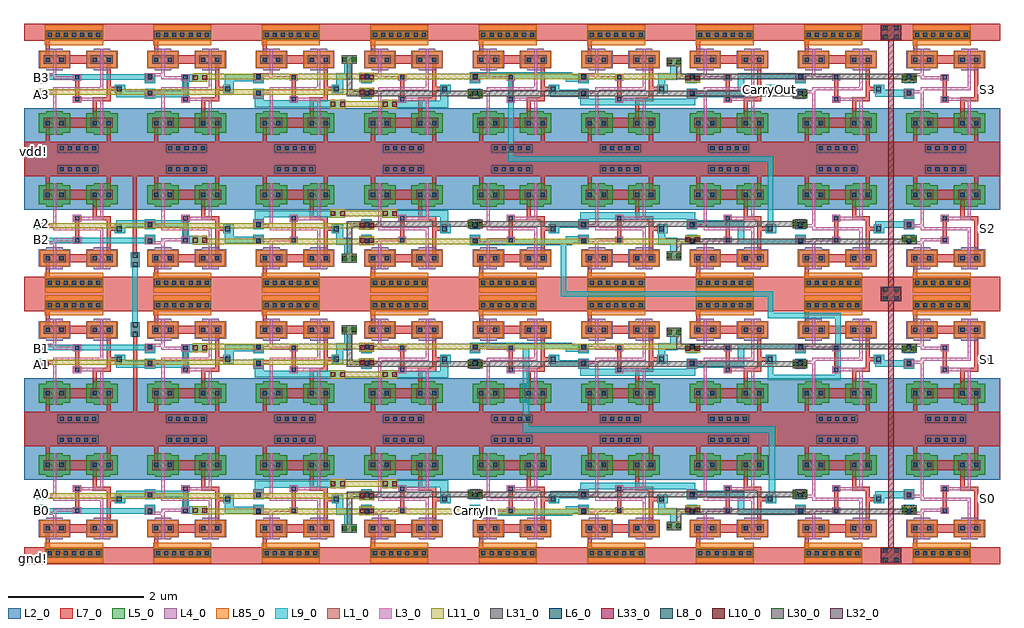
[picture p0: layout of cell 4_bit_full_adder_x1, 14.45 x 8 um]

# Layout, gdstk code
from math import pi, radians
import gdstk
lib = gdstk.Library(unit=1e-6, precision=5e-10)
def R(c, l, rs):  # rectangles x0, y0, x1, y1
    for r in rs: c.add(gdstk.rectangle(r[:2], r[2:], *l))
def A(c, l, x, y, w, h, nx, ny, dx, dy):  # array of equal rectangles
    R(c, l, [(x+i*dx, y+j*dy, x+i*dx+w, y+j*dy+h) for i in range(nx) for j in range(ny)])
L1_0 = (1, 0)
L2_0 = (2, 0)
L3_0 = (3, 0)
L4_0 = (4, 0)
L5_0 = (5, 0)
L6_0 = (6, 0)
L7_0 = (7, 0)
L8_0 = (8, 0)
L9_0 = (9, 0)
L10_0 = (10, 0)
L11_0 = (11, 0)
L30_0 = (30, 0)
L31_0 = (31, 0)
L32_0 = (32, 0)
L33_0 = (33, 0)
L85_0 = (85, 0)

nmos1v_cdns_764643294310 = lib.new_cell('nmos1v_CDNS_764643294310')
R(nmos1v_cdns_764643294310, L1_0, [(-0.14,0,0,0.12), (0,0,0.045,0.12), (0.045,0,0.185,0.12)])
R(nmos1v_cdns_764643294310, L3_0, [(0,-0.1,0.045,-0.05), (0,-0.05,0.045,0), (0,0,0.045,0.12), (0,0.12,0.045,0.17), (0,0.17,0.045,0.22)])
R(nmos1v_cdns_764643294310, L4_0, [(-0.1,-0.1,0.145,0.22), (-0.21,-0.07,0.255,0.19)])
R(nmos1v_cdns_764643294310, L6_0, [(-0.11,0.03,-0.05,0.09), (0.095,0.03,0.155,0.09)])
R(nmos1v_cdns_764643294310, L7_0, [(-0.11,0,-0.05,0.12), (0.095,0,0.155,0.12)])
R(nmos1v_cdns_764643294310, L85_0, [(-0.2,-0.06,0.245,0.18)])

pmos1v_cdns_764643294311 = lib.new_cell('pmos1v_CDNS_764643294311')
R(pmos1v_cdns_764643294311, L1_0, [(-0.14,0,0,0.145), (0,0,0.045,0.145), (0.045,0,0.185,0.145)])
R(pmos1v_cdns_764643294311, L2_0, [(-0.2,-0.06,0.245,0.205)])
R(pmos1v_cdns_764643294311, L3_0, [(0,-0.1,0.045,-0.05), (0,-0.05,0.045,0), (0,0,0.045,0.145), (0,0.145,0.045,0.195), (0,0.195,0.045,0.245)])
R(pmos1v_cdns_764643294311, L5_0, [(-0.1,-0.1,0.145,0.245), (-0.21,-0.07,0.255,0.215)])
R(pmos1v_cdns_764643294311, L6_0, [(-0.11,0.045,-0.05,0.105), (0.095,0.045,0.155,0.105)])
R(pmos1v_cdns_764643294311, L7_0, [(-0.11,0,-0.05,0.145), (0.095,0,0.155,0.145)])

m1_po_cdns_764643294317 = lib.new_cell('M1_PO_CDNS_764643294317')
R(m1_po_cdns_764643294317, L3_0, [(-0.05,-0.06,0.05,0.06)])
R(m1_po_cdns_764643294317, L6_0, [(-0.03,-0.03,0.03,0.03)])
R(m1_po_cdns_764643294317, L7_0, [(-0.03,-0.06,0.03,0.06)])

m2_m1_cdns_764643294318 = lib.new_cell('M2_M1_CDNS_764643294318')
R(m2_m1_cdns_764643294318, L7_0, [(-0.04,-0.065,0.04,0.065)])
R(m2_m1_cdns_764643294318, L8_0, [(-0.035,-0.035,0.035,0.035)])
R(m2_m1_cdns_764643294318, L9_0, [(-0.04,-0.065,0.04,0.065)])

m1_psub_cdns_76464329431 = lib.new_cell('M1_PSUB_CDNS_764643294319')
R(m1_psub_cdns_76464329431, L1_0, [(-0.06,-0.42,0.06,0.42)])
R(m1_psub_cdns_76464329431, L5_0, [(-0.07,-0.43,0.07,0.43)])
A(m1_psub_cdns_76464329431, L6_0, -0.03, -0.39, 0.06, 0.06, 1, 7, 0, 0.12)
R(m1_psub_cdns_76464329431, L7_0, [(-0.03,-0.42,0.03,0.42)])
R(m1_psub_cdns_76464329431, L85_0, [(-0.15,-0.43,0.15,0.43)])

m1_nwell_cdns_7646432943 = lib.new_cell('M1_NWELL_CDNS_7646432943110')
R(m1_nwell_cdns_7646432943, L1_0, [(-0.06,-0.3,0.06,0.3)])
R(m1_nwell_cdns_7646432943, L2_0, [(-0.15,-0.36,0.15,0.36)])
R(m1_nwell_cdns_7646432943, L4_0, [(-0.07,-0.31,0.07,0.31)])
A(m1_nwell_cdns_7646432943, L6_0, -0.03, -0.27, 0.06, 0.06, 1, 5, 0, 0.12)
R(m1_nwell_cdns_7646432943, L7_0, [(-0.03,-0.3,0.03,0.3)])

nand_x1 = lib.new_cell('nand_x1')
R(nand_x1, L2_0, [(0,1.25,1.605,2)])
R(nand_x1, L7_0, [(0,0,1.605,0.255), (0.1,0.03,0.2,0.13), (0.18,0.735,0.335,0.88), (0.18,0.96,0.335,1.11), (0,1.745,1.605,2), (0.1,1.835,0.2,1.935)])
R(nand_x1, L9_0, [(0.18,0.735,0.335,0.88), (0.215,0.755,0.315,0.855), (1.345,0.9,1.5,1.03), (1.365,0.93,1.465,1.03), (0.18,0.96,0.335,1.11), (0.205,0.99,0.305,1.09)])
nand_x1.add(gdstk.FlexPath([(1.05,1.12),(1.05,1.395)], 0.06, ends=(0.03, 0), simple_path=True, layer=7, datatype=0))  # L7_0
nand_x1.add(gdstk.FlexPath([(0.35,0.47),(0.35,0.255)], 0.06, ends="flush", simple_path=True, layer=7, datatype=0))  # L7_0
nand_x1.add(gdstk.FlexPath([(1.255,1.12),(1.05,1.12)], 0.06, ends="extended", simple_path=True, layer=7, datatype=0))  # L7_0
nand_x1.add(gdstk.FlexPath([(1.255,0.965),(1.41,0.965)], 0.06, ends=(0.03, 0), simple_path=True, layer=7, datatype=0))  # L7_0
nand_x1.add(gdstk.FlexPath([(1.255,0.965),(1.255,1.12)], 0.06, ends="extended", simple_path=True, layer=7, datatype=0))  # L7_0
nand_x1.add(gdstk.FlexPath([(1.255,0.59),(1.255,0.965)], 0.06, ends=(0, 0.03), simple_path=True, layer=7, datatype=0))  # L7_0
nand_x1.add(gdstk.FlexPath([(1.255,1.54),(1.255,1.745)], 0.06, ends="flush", simple_path=True, layer=7, datatype=0))  # L7_0
nand_x1.add(gdstk.FlexPath([(0.35,1.54),(0.35,1.745)], 0.06, ends="flush", simple_path=True, layer=7, datatype=0))  # L7_0
nand_x1.add(gdstk.FlexPath([(0.585,1.4675),(1.02,1.4675)], 0.145, ends="flush", simple_path=True, layer=7, datatype=0))  # L7_0
nand_x1.add(gdstk.FlexPath([(1.02,0.53),(0.585,0.53)], 0.12, ends="flush", simple_path=True, layer=7, datatype=0))  # L7_0
nand_x1.add(gdstk.FlexPath([(0.785,1.1175),(0.785,0.795)], 0.06, ends="flush", simple_path=True, layer=7, datatype=0))  # L7_0
nand_x1.add(gdstk.FlexPath([(0.4525,0.7575),(0.205,0.7575)], 0.045, ends=(0.0225, 0), simple_path=True, layer=3, datatype=0))  # L3_0
nand_x1.add(gdstk.FlexPath([(0.4525,0.7575),(0.4525,0.8025)], 0.045, ends="extended", simple_path=True, layer=3, datatype=0))  # L3_0
nand_x1.add(gdstk.FlexPath([(0.4525,1.0075),(0.205,1.0075)], 0.045, ends=(0.0225, 0), simple_path=True, layer=3, datatype=0))  # L3_0
nand_x1.add(gdstk.FlexPath([(0.4525,1.295),(0.4525,1.0075)], 0.045, ends=(0, 0.0225), simple_path=True, layer=3, datatype=0))  # L3_0
nand_x1.add(gdstk.FlexPath([(1.1525,1.1175),(0.785,1.1175)], 0.045, ends=(0.0225, 0), simple_path=True, layer=3, datatype=0))  # L3_0
nand_x1.add(gdstk.FlexPath([(1.1525,1.295),(1.1525,1.1175)], 0.045, ends=(0, 0.0225), simple_path=True, layer=3, datatype=0))  # L3_0
nand_x1.add(gdstk.FlexPath([(0.4525,0.8025),(0.82,0.8025)], 0.045, ends=(0.0225, 0), simple_path=True, layer=3, datatype=0))  # L3_0
nand_x1.add(gdstk.FlexPath([(0.4525,0.69),(0.4525,0.7575)], 0.045, ends=(0, 0.0225), simple_path=True, layer=3, datatype=0))  # L3_0
nand_x1.add(gdstk.FlexPath([(0.4525,0.9625),(0.4525,1.0075)], 0.045, ends="extended", simple_path=True, layer=3, datatype=0))  # L3_0
nand_x1.add(gdstk.FlexPath([(1.1525,0.9625),(0.4525,0.9625)], 0.045, ends="extended", simple_path=True, layer=3, datatype=0))  # L3_0
nand_x1.add(gdstk.FlexPath([(1.1525,0.665),(1.1525,0.9625)], 0.045, ends=(0, 0.0225), simple_path=True, layer=3, datatype=0))  # L3_0
nand_x1.add(gdstk.Reference(nmos1v_cdns_764643294310, (0.43,0.47)))
nand_x1.add(gdstk.Reference(nmos1v_cdns_764643294310, (1.13,0.47)))
nand_x1.add(gdstk.Reference(pmos1v_cdns_764643294311, (1.13,1.395)))
nand_x1.add(gdstk.Reference(pmos1v_cdns_764643294311, (0.43,1.395)))
nand_x1.add(gdstk.Reference(m1_po_cdns_764643294317, (0.785,1.12), rotation=pi/2))
nand_x1.add(gdstk.Reference(m1_po_cdns_764643294317, (0.785,0.795), rotation=pi/2))
nand_x1.add(gdstk.Reference(m1_po_cdns_764643294317, (0.255,1.025), rotation=pi/2))
nand_x1.add(gdstk.Reference(m1_po_cdns_764643294317, (0.255,0.785), rotation=pi/2))
nand_x1.add(gdstk.Reference(m2_m1_cdns_764643294318, (1.41,0.965)))
nand_x1.add(gdstk.Reference(m2_m1_cdns_764643294318, (0.26,0.785), rotation=pi/2))
nand_x1.add(gdstk.Reference(m2_m1_cdns_764643294318, (0.26,1.025), rotation=pi/2))
nand_x1.add(gdstk.Reference(m1_psub_cdns_76464329431, (0.74,0.165), rotation=pi/2))
nand_x1.add(gdstk.Reference(m1_nwell_cdns_7646432943, (0.8,1.845), rotation=pi/2))
nand_x1.add(gdstk.Label('vdd!', (0.15,1.885), layer=7, texttype=0))
nand_x1.add(gdstk.Label('gnd!', (0.15,0.08), layer=7, texttype=0))
nand_x1.add(gdstk.Label('S', (1.415,0.98), layer=9, texttype=0))
nand_x1.add(gdstk.Label('B', (0.265,0.805), layer=9, texttype=0))
nand_x1.add(gdstk.Label('A', (0.255,1.04), layer=9, texttype=0))

m3_m2_cdns_764643294315 = lib.new_cell('M3_M2_CDNS_764643294315')
R(m3_m2_cdns_764643294315, L9_0, [(-0.11,-0.065,0.11,0.065)])
R(m3_m2_cdns_764643294315, L10_0, [(-0.105,-0.035,-0.035,0.035), (0.035,-0.035,0.105,0.035)])
R(m3_m2_cdns_764643294315, L11_0, [(-0.11,-0.065,0.11,0.065)])

m4_m3_cdns_764643294316 = lib.new_cell('M4_M3_CDNS_764643294316')
R(m4_m3_cdns_764643294316, L11_0, [(-0.11,-0.065,0.11,0.065)])
R(m4_m3_cdns_764643294316, L30_0, [(-0.105,-0.035,-0.035,0.035), (0.035,-0.035,0.105,0.035)])
R(m4_m3_cdns_764643294316, L31_0, [(-0.11,-0.065,0.11,0.065)])

c_1_bit_full_adder_x1 = lib.new_cell('1_bit_full_adder_x1')
R(c_1_bit_full_adder_x1, L2_0, [(0,1.25,14.445,2)])
R(c_1_bit_full_adder_x1, L7_0, [(0,0,14.445,0.255), (0.11,0.05,0.17,0.11), (0,1.745,14.445,2), (0.115,1.865,0.175,1.925)])
R(c_1_bit_full_adder_x1, L9_0, [(10.56,0.735,10.66,0.815), (11.415,0.735,11.57,0.88), (0.225,0.77,0.285,0.83), (6.655,0.77,6.715,0.83), (2.44,0.845,2.495,0.86), (3.07,0.85,3.105,0.9), (7.765,0.9,7.92,1.03), (14.235,0.94,14.295,1), (11.01,0.955,11.07,1.015), (8.205,0.96,8.36,1.11), (0.225,1.02,0.285,1.08), (6.16,1.03,6.18,1.14), (3.515,1.11,3.545,1.14)])
c_1_bit_full_adder_x1.add(gdstk.FlexPath([(5.415,1.19),(6.23,1.19)], 0.1, ends=(0, 0.05), simple_path=True, layer=9, datatype=0))  # L9_0
c_1_bit_full_adder_x1.add(gdstk.FlexPath([(4.645,1.19),(4.645,1.185)], 0.1, ends=(0, 0.05), simple_path=True, layer=9, datatype=0))  # L9_0
c_1_bit_full_adder_x1.add(gdstk.FlexPath([(10.61,0.775),(10.61,0.805)], 0.08, ends=(0.04, 0), simple_path=True, layer=9, datatype=0))  # L9_0
c_1_bit_full_adder_x1.add(gdstk.FlexPath([(8.065,0.77),(6.6,0.77)], 0.1, ends=(0.05, 0), simple_path=True, layer=9, datatype=0))  # L9_0
c_1_bit_full_adder_x1.add(gdstk.FlexPath([(9.615,0.78),(9.615,0.525)], 0.1, ends=(0.05, 0), simple_path=True, layer=9, datatype=0))  # L9_0
c_1_bit_full_adder_x1.add(gdstk.FlexPath([(9.44,0.78),(9.615,0.78)], 0.1, ends="extended", simple_path=True, layer=9, datatype=0))  # L9_0
c_1_bit_full_adder_x1.add(gdstk.FlexPath([(9.44,0.93),(9.44,0.78)], 0.1, ends=(0, 0.05), simple_path=True, layer=9, datatype=0))  # L9_0
c_1_bit_full_adder_x1.add(gdstk.FlexPath([(4.815,0.53),(4.79,0.53)], 0.1, ends=(0, 0.05), simple_path=True, layer=9, datatype=0))  # L9_0
c_1_bit_full_adder_x1.add(gdstk.FlexPath([(4.79,0.53),(4.79,0.78)], 0.1, ends="extended", simple_path=True, layer=9, datatype=0))  # L9_0
c_1_bit_full_adder_x1.add(gdstk.FlexPath([(4.79,0.78),(4.675,0.78)], 0.1, ends="extended", simple_path=True, layer=9, datatype=0))  # L9_0
c_1_bit_full_adder_x1.add(gdstk.FlexPath([(4.675,0.78),(4.675,0.98)], 0.1, ends="extended", simple_path=True, layer=9, datatype=0))  # L9_0
c_1_bit_full_adder_x1.add(gdstk.FlexPath([(3.465,1.185),(3.465,1.09)], 0.1, ends=(0.05, 0), simple_path=True, layer=9, datatype=0))  # L9_0
c_1_bit_full_adder_x1.add(gdstk.FlexPath([(6.23,1.19),(6.23,1.03)], 0.1, ends=(0.05, 0), simple_path=True, layer=9, datatype=0))  # L9_0
c_1_bit_full_adder_x1.add(gdstk.FlexPath([(4.645,1.185),(3.465,1.185)], 0.1, ends="extended", simple_path=True, layer=9, datatype=0))  # L9_0
c_1_bit_full_adder_x1.add(gdstk.FlexPath([(8.24,0.805),(8.065,0.805)], 0.1, ends=(0, 0.05), simple_path=True, layer=9, datatype=0))  # L9_0
c_1_bit_full_adder_x1.add(gdstk.FlexPath([(8.065,0.805),(8.065,0.77)], 0.1, ends="extended", simple_path=True, layer=9, datatype=0))  # L9_0
c_1_bit_full_adder_x1.add(gdstk.FlexPath([(9.885,1.16),(9.885,0.99)], 0.1, ends=(0.05, 0), simple_path=True, layer=9, datatype=0))  # L9_0
c_1_bit_full_adder_x1.add(gdstk.FlexPath([(8.28,1.16),(9.885,1.16)], 0.1, ends="extended", simple_path=True, layer=9, datatype=0))  # L9_0
c_1_bit_full_adder_x1.add(gdstk.FlexPath([(8.28,1.09),(8.28,1.16)], 0.1, ends=(0, 0.05), simple_path=True, layer=9, datatype=0))  # L9_0
c_1_bit_full_adder_x1.add(gdstk.FlexPath([(10.61,0.805),(10.61,0.79)], 0.1, ends=(0.05, 0), simple_path=True, layer=9, datatype=0))  # L9_0
c_1_bit_full_adder_x1.add(gdstk.FlexPath([(11.42,0.775),(10.61,0.775)], 0.08, ends=(0, 0.04), simple_path=True, layer=9, datatype=0))  # L9_0
c_1_bit_full_adder_x1.add(gdstk.FlexPath([(10.61,0.805),(10.61,1.04)], 0.1, ends="extended", simple_path=True, layer=9, datatype=0))  # L9_0
c_1_bit_full_adder_x1.add(gdstk.FlexPath([(10.61,1.04),(9.935,1.04)], 0.1, ends=(0.05, 0), simple_path=True, layer=9, datatype=0))  # L9_0
c_1_bit_full_adder_x1.add(gdstk.FlexPath([(12.65,1.03),(13.145,1.03)], 0.1, ends=(0.05, 0), simple_path=True, layer=9, datatype=0))  # L9_0
c_1_bit_full_adder_x1.add(gdstk.FlexPath([(8.28,1.03),(8.28,0.99)], 0.1, ends=(0.05, 0), simple_path=True, layer=9, datatype=0))  # L9_0
c_1_bit_full_adder_x1.add(gdstk.FlexPath([(7.835,1.03),(8.28,1.03)], 0.1, ends="extended", simple_path=True, layer=9, datatype=0))  # L9_0
c_1_bit_full_adder_x1.add(gdstk.FlexPath([(3.02,0.8),(3.525,0.8)], 0.1, ends=(0.05, 0), simple_path=True, layer=9, datatype=0))  # L9_0
c_1_bit_full_adder_x1.add(gdstk.FlexPath([(3.02,0.93),(3.02,0.8)], 0.1, ends=(0, 0.05), simple_path=True, layer=9, datatype=0))  # L9_0
c_1_bit_full_adder_x1.add(gdstk.FlexPath([(2.39,0.795),(2.59,0.795)], 0.1, ends=(0.05, 0), simple_path=True, layer=9, datatype=0))  # L9_0
c_1_bit_full_adder_x1.add(gdstk.FlexPath([(2.39,1.04),(2.39,0.795)], 0.1, ends="extended", simple_path=True, layer=9, datatype=0))  # L9_0
c_1_bit_full_adder_x1.add(gdstk.FlexPath([(1.91,1.04),(2.39,1.04)], 0.1, ends=(0, 0.05), simple_path=True, layer=9, datatype=0))  # L9_0
c_1_bit_full_adder_x1.add(gdstk.FlexPath([(1.415,1.04),(1.415,0.93)], 0.1, ends=(0.05, 0), simple_path=True, layer=9, datatype=0))  # L9_0
c_1_bit_full_adder_x1.add(gdstk.FlexPath([(1.81,1.04),(1.415,1.04)], 0.1, ends=(0, 0.05), simple_path=True, layer=9, datatype=0))  # L9_0
c_1_bit_full_adder_x1.add(gdstk.FlexPath([(0.285,0.79),(1.88,0.79)], 0.08, ends="flush", simple_path=True, layer=9, datatype=0))  # L9_0
c_1_bit_full_adder_x1.add(gdstk.FlexPath([(5.415,1.19),(4.645,1.19)], 0.08, ends="flush", simple_path=True, layer=11, datatype=0))  # L11_0
c_1_bit_full_adder_x1.add(gdstk.FlexPath([(5.075,1.01),(5.075,1.035)], 0.08, ends=(0.04, 0), simple_path=True, layer=11, datatype=0))  # L11_0
c_1_bit_full_adder_x1.add(gdstk.FlexPath([(0.26,1.01),(5.075,1.01)], 0.08, ends=(0.11, 0.04), simple_path=True, layer=11, datatype=0))  # L11_0
c_1_bit_full_adder_x1.add(gdstk.FlexPath([(0.26,1.035),(0.26,1.01)], 0.22, ends=(0, 0.04), simple_path=True, layer=11, datatype=0))  # L11_0
c_1_bit_full_adder_x1.add(gdstk.FlexPath([(2.605,0.78),(2.605,0.795)], 0.08, ends=(0.04, 0), simple_path=True, layer=11, datatype=0))  # L11_0
c_1_bit_full_adder_x1.add(gdstk.FlexPath([(9.895,0.78),(2.605,0.78)], 0.08, ends=(0.11, 0.04), simple_path=True, layer=11, datatype=0))  # L11_0
c_1_bit_full_adder_x1.add(gdstk.FlexPath([(9.895,0.805),(9.895,0.78)], 0.22, ends=(0, 0.04), simple_path=True, layer=11, datatype=0))  # L11_0
c_1_bit_full_adder_x1.add(gdstk.FlexPath([(13.1,0.78),(13.1,0.805)], 0.08, ends=(0.04, 0), simple_path=True, layer=31, datatype=0))  # L31_0
c_1_bit_full_adder_x1.add(gdstk.FlexPath([(9.69,0.78),(13.1,0.78)], 0.08, ends="extended", simple_path=True, layer=31, datatype=0))  # L31_0
c_1_bit_full_adder_x1.add(gdstk.FlexPath([(9.69,0.565),(9.69,0.78)], 0.08, ends=(0.065, 0.04), simple_path=True, layer=31, datatype=0))  # L31_0
c_1_bit_full_adder_x1.add(gdstk.FlexPath([(9.62,0.565),(9.69,0.565)], 0.13, ends=(0, 0.04), simple_path=True, layer=31, datatype=0))  # L31_0
c_1_bit_full_adder_x1.add(gdstk.FlexPath([(6.68,1.035),(11.485,1.035)], 0.08, ends="flush", simple_path=True, layer=31, datatype=0))  # L31_0
c_1_bit_full_adder_x1.add(gdstk.FlexPath([(4.815,1.035),(4.815,0.53)], 0.08, ends=(0.04, 0), simple_path=True, layer=31, datatype=0))  # L31_0
c_1_bit_full_adder_x1.add(gdstk.FlexPath([(6.68,1.035),(4.815,1.035)], 0.08, ends=(0, 0.04), simple_path=True, layer=31, datatype=0))  # L31_0
c_1_bit_full_adder_x1.add(gdstk.Reference(nand_x1, (9.63,0)))
c_1_bit_full_adder_x1.add(gdstk.Reference(nand_x1, (12.84,0)))
c_1_bit_full_adder_x1.add(gdstk.Reference(nand_x1, (8.025,0)))
c_1_bit_full_adder_x1.add(gdstk.Reference(nand_x1, (11.235,0)))
c_1_bit_full_adder_x1.add(gdstk.Reference(nand_x1, (6.42,0)))
c_1_bit_full_adder_x1.add(gdstk.Reference(nand_x1, (3.21,0)))
c_1_bit_full_adder_x1.add(gdstk.Reference(nand_x1, (1.605,0)))
c_1_bit_full_adder_x1.add(gdstk.Reference(nand_x1, (4.815,0)))
c_1_bit_full_adder_x1.add(gdstk.Reference(nand_x1, (0,0)))
c_1_bit_full_adder_x1.add(gdstk.Reference(m3_m2_cdns_764643294315, (5.415,1.19)))
c_1_bit_full_adder_x1.add(gdstk.Reference(m3_m2_cdns_764643294315, (4.645,1.19)))
c_1_bit_full_adder_x1.add(gdstk.Reference(m3_m2_cdns_764643294315, (13.1,0.805)))
c_1_bit_full_adder_x1.add(gdstk.Reference(m3_m2_cdns_764643294315, (9.62,0.565)))
c_1_bit_full_adder_x1.add(gdstk.Reference(m3_m2_cdns_764643294315, (11.485,1.035)))
c_1_bit_full_adder_x1.add(gdstk.Reference(m3_m2_cdns_764643294315, (6.68,1.035)))
c_1_bit_full_adder_x1.add(gdstk.Reference(m3_m2_cdns_764643294315, (4.815,0.53)))
c_1_bit_full_adder_x1.add(gdstk.Reference(m3_m2_cdns_764643294315, (5.075,0.79)))
c_1_bit_full_adder_x1.add(gdstk.Reference(m3_m2_cdns_764643294315, (9.895,0.805)))
c_1_bit_full_adder_x1.add(gdstk.Reference(m3_m2_cdns_764643294315, (2.605,0.795)))
c_1_bit_full_adder_x1.add(gdstk.Reference(m3_m2_cdns_764643294315, (5.075,1.015)))
c_1_bit_full_adder_x1.add(gdstk.Reference(m3_m2_cdns_764643294315, (0.26,1.035)))
c_1_bit_full_adder_x1.add(gdstk.Reference(m4_m3_cdns_764643294316, (9.62,0.565)))
c_1_bit_full_adder_x1.add(gdstk.Reference(m4_m3_cdns_764643294316, (13.1,0.805)))
c_1_bit_full_adder_x1.add(gdstk.Reference(m4_m3_cdns_764643294316, (11.485,1.035)))
c_1_bit_full_adder_x1.add(gdstk.Reference(m4_m3_cdns_764643294316, (4.815,0.53)))
c_1_bit_full_adder_x1.add(gdstk.Reference(m4_m3_cdns_764643294316, (6.68,1.035)))
c_1_bit_full_adder_x1.add(gdstk.Label('vdd!', (0.145,1.895), layer=7, texttype=0))
c_1_bit_full_adder_x1.add(gdstk.Label('gnd!', (0.14,0.08), layer=7, texttype=0))
c_1_bit_full_adder_x1.add(gdstk.Label('CarryIn', (6.685,0.8), layer=9, texttype=0))
c_1_bit_full_adder_x1.add(gdstk.Label('B', (0.255,0.8), layer=9, texttype=0))
c_1_bit_full_adder_x1.add(gdstk.Label('A', (0.255,1.05), layer=9, texttype=0))
c_1_bit_full_adder_x1.add(gdstk.Label('CarryOut', (11.04,0.985), layer=9, texttype=0))
c_1_bit_full_adder_x1.add(gdstk.Label('S', (14.265,0.97), layer=9, texttype=0))

m2_m1_cdns_764643294310 = lib.new_cell('M2_M1_CDNS_764643294310')
R(m2_m1_cdns_764643294310, L7_0, [(-0.11,-0.065,0.11,0.065)])
R(m2_m1_cdns_764643294310, L8_0, [(-0.105,-0.035,-0.035,0.035), (0.035,-0.035,0.105,0.035)])
R(m2_m1_cdns_764643294310, L9_0, [(-0.11,-0.065,0.11,0.065)])

m2_m1_cdns_764643294311 = lib.new_cell('M2_M1_CDNS_764643294311')
R(m2_m1_cdns_764643294311, L7_0, [(-0.11,-0.15,0.11,0.15)])
R(m2_m1_cdns_764643294311, L8_0, [(-0.105,-0.12,-0.035,-0.05), (0.035,-0.12,0.105,-0.05), (-0.105,0.05,-0.035,0.12), (0.035,0.05,0.105,0.12)])
R(m2_m1_cdns_764643294311, L9_0, [(-0.11,-0.15,0.11,0.15)])

m3_m2_cdns_764643294312 = lib.new_cell('M3_M2_CDNS_764643294312')
R(m3_m2_cdns_764643294312, L9_0, [(-0.11,-0.15,0.11,0.15)])
R(m3_m2_cdns_764643294312, L10_0, [(-0.105,-0.12,-0.035,-0.05), (0.035,-0.12,0.105,-0.05), (-0.105,0.05,-0.035,0.12), (0.035,0.05,0.105,0.12)])
R(m3_m2_cdns_764643294312, L11_0, [(-0.11,-0.15,0.11,0.15)])

m4_m3_cdns_764643294313 = lib.new_cell('M4_M3_CDNS_764643294313')
R(m4_m3_cdns_764643294313, L11_0, [(-0.11,-0.15,0.11,0.15)])
R(m4_m3_cdns_764643294313, L30_0, [(-0.105,-0.12,-0.035,-0.05), (0.035,-0.12,0.105,-0.05), (-0.105,0.05,-0.035,0.12), (0.035,0.05,0.105,0.12)])
R(m4_m3_cdns_764643294313, L31_0, [(-0.11,-0.15,0.11,0.15)])

m5_m4_cdns_764643294314 = lib.new_cell('M5_M4_CDNS_764643294314')
R(m5_m4_cdns_764643294314, L31_0, [(-0.11,-0.15,0.11,0.15)])
R(m5_m4_cdns_764643294314, L32_0, [(-0.105,-0.12,-0.035,-0.05), (0.035,-0.12,0.105,-0.05), (-0.105,0.05,-0.035,0.12), (0.035,0.05,0.105,0.12)])
R(m5_m4_cdns_764643294314, L33_0, [(-0.11,-0.15,0.11,0.15)])

c_4_bit_full_adder_x1 = lib.new_cell('4_bit_full_adder_x1')
R(c_4_bit_full_adder_x1, L7_0, [(0.11,0.05,0.17,0.11), (0.225,0.77,0.285,0.83), (14.235,0.94,14.295,1), (0.225,1.02,0.285,1.08), (0.225,2.92,0.285,2.98), (14.235,3,14.295,3.06), (0.225,3.17,0.285,3.23), (0.225,4.77,0.285,4.83), (14.235,4.94,14.295,5), (0.225,5.02,0.285,5.08), (0.115,6.075,0.175,6.135), (0.225,6.92,0.285,6.98), (14.235,7,14.295,7.06), (0.225,7.17,0.285,7.23)])
R(c_4_bit_full_adder_x1, L9_0, [(6.64,0.76,6.72,0.84), (11,6.985,11.08,7.065)])
c_4_bit_full_adder_x1.add(gdstk.FlexPath([(1.64,5.775),(1.64,4.525)], 0.06, ends="flush", simple_path=True, layer=7, datatype=0))  # L7_0
c_4_bit_full_adder_x1.add(gdstk.FlexPath([(1.645,3.475),(1.645,2.25)], 0.06, ends="flush", simple_path=True, layer=7, datatype=0))  # L7_0
c_4_bit_full_adder_x1.add(gdstk.FlexPath([(11.05,2.765),(12.045,2.765)], 0.08, ends="extended", simple_path=True, layer=9, datatype=0))  # L9_0
c_4_bit_full_adder_x1.add(gdstk.FlexPath([(11.05,2.985),(11.05,2.765)], 0.08, ends=(0, 0.04), simple_path=True, layer=9, datatype=0))  # L9_0
c_4_bit_full_adder_x1.add(gdstk.FlexPath([(12.045,2.765),(12.045,3.68)], 0.08, ends="extended", simple_path=True, layer=9, datatype=0))  # L9_0
c_4_bit_full_adder_x1.add(gdstk.FlexPath([(12.045,3.68),(11.05,3.68)], 0.08, ends="extended", simple_path=True, layer=9, datatype=0))  # L9_0
c_4_bit_full_adder_x1.add(gdstk.FlexPath([(7.21,7.23),(6.655,7.23)], 0.08, ends=(0.04, 0), simple_path=True, layer=9, datatype=0))  # L9_0
c_4_bit_full_adder_x1.add(gdstk.FlexPath([(7.21,6),(7.21,7.23)], 0.08, ends="extended", simple_path=True, layer=9, datatype=0))  # L9_0
c_4_bit_full_adder_x1.add(gdstk.FlexPath([(11.05,6),(7.21,6)], 0.08, ends="extended", simple_path=True, layer=9, datatype=0))  # L9_0
c_4_bit_full_adder_x1.add(gdstk.FlexPath([(11.05,5.015),(11.05,6)], 0.08, ends=(0, 0.04), simple_path=True, layer=9, datatype=0))  # L9_0
c_4_bit_full_adder_x1.add(gdstk.FlexPath([(6.715,3.23),(7.43,3.23)], 0.1, ends=(0, 0.05), simple_path=True, layer=9, datatype=0))  # L9_0
c_4_bit_full_adder_x1.add(gdstk.FlexPath([(7.985,4.77),(6.655,4.77)], 0.08, ends=(0.04, 0), simple_path=True, layer=9, datatype=0))  # L9_0
c_4_bit_full_adder_x1.add(gdstk.FlexPath([(7.985,4),(7.985,4.77)], 0.08, ends="extended", simple_path=True, layer=9, datatype=0))  # L9_0
c_4_bit_full_adder_x1.add(gdstk.FlexPath([(11.05,4),(7.985,4)], 0.08, ends="extended", simple_path=True, layer=9, datatype=0))  # L9_0
c_4_bit_full_adder_x1.add(gdstk.FlexPath([(11.05,3.68),(11.05,4)], 0.08, ends="extended", simple_path=True, layer=9, datatype=0))  # L9_0
c_4_bit_full_adder_x1.add(gdstk.FlexPath([(11.07,1.995),(11.07,0.955)], 0.1, ends=(0.05, 0), simple_path=True, layer=9, datatype=0))  # L9_0
c_4_bit_full_adder_x1.add(gdstk.FlexPath([(7.43,1.995),(11.07,1.995)], 0.1, ends="extended", simple_path=True, layer=9, datatype=0))  # L9_0
c_4_bit_full_adder_x1.add(gdstk.FlexPath([(7.43,3.23),(7.43,1.995)], 0.1, ends="extended", simple_path=True, layer=9, datatype=0))  # L9_0
c_4_bit_full_adder_x1.add(gdstk.FlexPath([(1.645,4.505),(1.645,3.475)], 0.08, ends="flush", simple_path=True, layer=9, datatype=0))  # L9_0
c_4_bit_full_adder_x1.add(gdstk.FlexPath([(12.83,4),(12.83,7.87)], 0.08, ends="flush", simple_path=True, layer=33, datatype=0))  # L33_0
c_4_bit_full_adder_x1.add(gdstk.FlexPath([(12.83,0.135),(12.83,4)], 0.08, ends="flush", simple_path=True, layer=33, datatype=0))  # L33_0
c_4_bit_full_adder_x1.add(gdstk.Reference(c_1_bit_full_adder_x1, (0,8), x_reflection=True))
c_4_bit_full_adder_x1.add(gdstk.Reference(c_1_bit_full_adder_x1, (0,4)))
c_4_bit_full_adder_x1.add(gdstk.Reference(c_1_bit_full_adder_x1, (0,4), x_reflection=True))
c_4_bit_full_adder_x1.add(gdstk.Reference(c_1_bit_full_adder_x1, (0,0)))
c_4_bit_full_adder_x1.add(gdstk.Reference(m2_m1_cdns_764643294310, (1.645,3.475), rotation=pi/2))
c_4_bit_full_adder_x1.add(gdstk.Reference(m2_m1_cdns_764643294310, (1.645,4.505), rotation=pi/2))
c_4_bit_full_adder_x1.add(gdstk.Reference(m2_m1_cdns_764643294311, (12.83,0.135), rotation=pi/2))
c_4_bit_full_adder_x1.add(gdstk.Reference(m2_m1_cdns_764643294311, (12.83,4), rotation=pi/2))
c_4_bit_full_adder_x1.add(gdstk.Reference(m2_m1_cdns_764643294311, (12.83,7.87), rotation=pi/2))
c_4_bit_full_adder_x1.add(gdstk.Reference(m3_m2_cdns_764643294312, (12.83,0.135), rotation=pi/2))
c_4_bit_full_adder_x1.add(gdstk.Reference(m3_m2_cdns_764643294312, (12.83,4), rotation=pi/2))
c_4_bit_full_adder_x1.add(gdstk.Reference(m3_m2_cdns_764643294312, (12.83,7.87), rotation=pi/2))
c_4_bit_full_adder_x1.add(gdstk.Reference(m4_m3_cdns_764643294313, (12.83,0.135), rotation=pi/2))
c_4_bit_full_adder_x1.add(gdstk.Reference(m4_m3_cdns_764643294313, (12.83,4), rotation=pi/2))
c_4_bit_full_adder_x1.add(gdstk.Reference(m4_m3_cdns_764643294313, (12.83,7.87), rotation=pi/2))
c_4_bit_full_adder_x1.add(gdstk.Reference(m5_m4_cdns_764643294314, (12.83,0.135), rotation=pi/2))
c_4_bit_full_adder_x1.add(gdstk.Reference(m5_m4_cdns_764643294314, (12.83,4), rotation=pi/2))
c_4_bit_full_adder_x1.add(gdstk.Reference(m5_m4_cdns_764643294314, (12.83,7.87), rotation=pi/2))
c_4_bit_full_adder_x1.add(gdstk.Label('vdd!', (0.145,6.105), layer=7, texttype=0))
c_4_bit_full_adder_x1.add(gdstk.Label('gnd!', (0.14,0.08), layer=7, texttype=0))
c_4_bit_full_adder_x1.add(gdstk.Label('S3', (14.265,7.03), layer=7, texttype=0))
c_4_bit_full_adder_x1.add(gdstk.Label('S2', (14.265,4.97), layer=7, texttype=0))
c_4_bit_full_adder_x1.add(gdstk.Label('S1', (14.265,3.03), layer=7, texttype=0))
c_4_bit_full_adder_x1.add(gdstk.Label('S0', (14.265,0.97), layer=7, texttype=0))
c_4_bit_full_adder_x1.add(gdstk.Label('B3', (0.255,7.2), layer=7, texttype=0))
c_4_bit_full_adder_x1.add(gdstk.Label('A3', (0.255,6.95), layer=7, texttype=0))
c_4_bit_full_adder_x1.add(gdstk.Label('B2', (0.255,4.8), layer=7, texttype=0))
c_4_bit_full_adder_x1.add(gdstk.Label('A2', (0.255,5.05), layer=7, texttype=0))
c_4_bit_full_adder_x1.add(gdstk.Label('B1', (0.255,3.2), layer=7, texttype=0))
c_4_bit_full_adder_x1.add(gdstk.Label('A1', (0.255,2.95), layer=7, texttype=0))
c_4_bit_full_adder_x1.add(gdstk.Label('B0', (0.255,0.8), layer=7, texttype=0))
c_4_bit_full_adder_x1.add(gdstk.Label('A0', (0.255,1.05), layer=7, texttype=0))
c_4_bit_full_adder_x1.add(gdstk.Label('CarryIn', (6.68,0.8), layer=9, texttype=0))
c_4_bit_full_adder_x1.add(gdstk.Label('CarryOut', (11.04,7.025), layer=9, texttype=0))

lib.write_gds('4_bit_full_adder_x1.gds')
